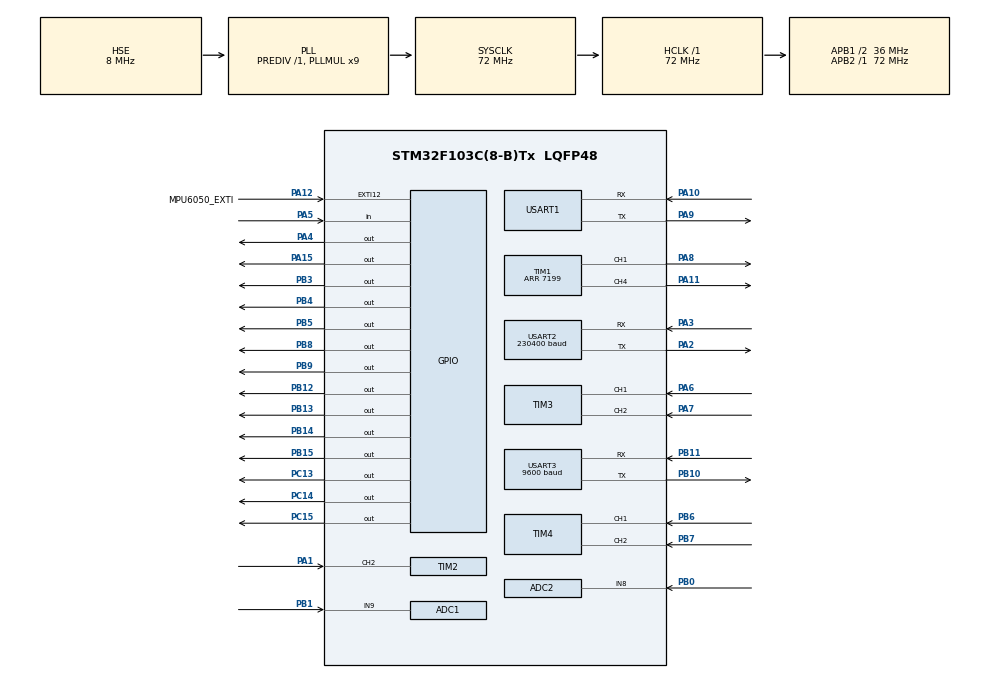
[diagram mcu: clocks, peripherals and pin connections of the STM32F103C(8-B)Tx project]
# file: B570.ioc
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ADC1.Channel-1\#ChannelRegularConversion=ADC_CHANNEL_9
ADC1.NbrOfConversionFlag=1
ADC1.Rank-1\#ChannelRegularConversion=1
ADC1.SamplingTime-1\#ChannelRegularConversion=ADC_SAMPLETIME_1CYCLE_5
ADC1.master=1
ADC2.Channel-0\#ChannelRegularConversion=ADC_CHANNEL_8
ADC2.NbrOfConversionFlag=1
ADC2.Rank-0\#ChannelRegularConversion=1
ADC2.SamplingTime-0\#ChannelRegularConversion=ADC_SAMPLETIME_1CYCLE_5
Mcu.Family=STM32F1
Mcu.Name=STM32F103C(8-B)Tx
Mcu.Package=LQFP48
NVIC.EXTI15_10_IRQn=true\:2\:1\:true\:false\:true\:true\:true\:true
NVIC.PriorityGroup=NVIC_PRIORITYGROUP_2
NVIC.TIM2_IRQn=true\:1\:1\:true\:false\:true\:true\:true\:true
NVIC.TIM3_IRQn=true\:1\:1\:true\:false\:true\:true\:true\:true
NVIC.TIM4_IRQn=true\:1\:1\:true\:false\:true\:true\:true\:true
NVIC.USART1_IRQn=true\:1\:1\:true\:false\:true\:true\:true\:true
NVIC.USART2_IRQn=true\:1\:1\:true\:false\:true\:true\:true\:true
NVIC.USART3_IRQn=true\:1\:1\:true\:false\:true\:true\:true\:true
PA0-WKUP.Signal=S_TIM2_CH1_ETR
PA1.Signal=S_TIM2_CH2
PA10.Mode=Asynchronous
PA10.Signal=USART1_RX
PA11.Signal=S_TIM1_CH4
PA12.GPIO_Label=MPU6050_EXTI
PA12.Signal=GPXTI12
PA15.Signal=GPIO_Output
PA2.Mode=Asynchronous
PA2.Signal=USART2_TX
PA3.Mode=Asynchronous
PA3.Signal=USART2_RX
PA4.Signal=GPIO_Output
PA5.Signal=GPIO_Input
PA6.Signal=S_TIM3_CH1
PA7.Signal=S_TIM3_CH2
PA8.Signal=S_TIM1_CH1
PA9.Mode=Asynchronous
PA9.Signal=USART1_TX
PB0.Signal=ADCx_IN8
PB1.Signal=ADCx_IN9
PB10.Mode=Asynchronous
PB10.Signal=USART3_TX
PB11.Mode=Asynchronous
PB11.Signal=USART3_RX
PB12.Signal=GPIO_Output
PB13.Signal=GPIO_Output
PB14.Signal=GPIO_Output
PB15.Signal=GPIO_Output
PB3.Signal=GPIO_Output
PB4.Signal=GPIO_Output
PB5.Signal=GPIO_Output
PB6.Signal=S_TIM4_CH1
PB7.Signal=S_TIM4_CH2
PB8.Signal=GPIO_Output
PB9.Signal=GPIO_Output
PC13-TAMPER-RTC.Signal=GPIO_Output
PC14-OSC32_IN.Signal=GPIO_Output
PC15-OSC32_OUT.Signal=GPIO_Output
PD0-OSC_IN.Mode=HSE-External-Oscillator
PD0-OSC_IN.Signal=RCC_OSC_IN
PD1-OSC_OUT.Mode=HSE-External-Oscillator
PD1-OSC_OUT.Signal=RCC_OSC_OUT
ProjectManager.HeapSize=0x200
ProjectManager.StackSize=0x400
ProjectManager.TargetToolchain=MDK-ARM V5.32
RCC.ADCPresc=RCC_ADCPCLK2_DIV6
RCC.AHBFreq_Value=72000000
RCC.APB1CLKDivider=RCC_HCLK_DIV2
RCC.APB1Freq_Value=36000000
RCC.APB1TimFreq_Value=72000000
RCC.APB2Freq_Value=72000000
RCC.APB2TimFreq_Value=72000000
RCC.HCLKFreq_Value=72000000
RCC.PLLMUL=RCC_PLL_MUL9
RCC.PLLSourceVirtual=RCC_PLLSOURCE_HSE
RCC.SYSCLKFreq_VALUE=72000000
RCC.SYSCLKSource=RCC_SYSCLKSOURCE_PLLCLK
RCC.USBFreq_Value=72000000
SH.ADCx_IN8.0=ADC2_IN8,IN8
SH.ADCx_IN9.0=ADC1_IN9,IN9
SH.S_TIM1_CH1.0=TIM1_CH1,PWM Generation1 CH1
SH.S_TIM1_CH4.0=TIM1_CH4,PWM Generation4 CH4
SH.S_TIM2_CH1_ETR.0=TIM2_CH1
SH.S_TIM2_CH2.0=TIM2_CH2,Input_Capture2_from_TI2
SH.S_TIM3_CH1.0=TIM3_CH1,Encoder_Interface
SH.S_TIM3_CH2.0=TIM3_CH2,Encoder_Interface
SH.S_TIM4_CH1.0=TIM4_CH1,Encoder_Interface
SH.S_TIM4_CH2.0=TIM4_CH2,Encoder_Interface
TIM1.AutoReloadPreload=TIM_AUTORELOAD_PRELOAD_ENABLE
TIM1.Channel-PWM\ Generation1\ CH1=TIM_CHANNEL_1
TIM1.Channel-PWM\ Generation4\ CH4=TIM_CHANNEL_4
TIM1.Period=7199
TIM2.Channel-Input_Capture2_from_TI2=TIM_CHANNEL_2
TIM2.Prescaler=71
TIM3.EncoderMode=TIM_ENCODERMODE_TI12
TIM4.EncoderMode=TIM_ENCODERMODE_TI12
USART1.VirtualMode=VM_ASYNC
USART2.BaudRate=230400
USART2.VirtualMode=VM_ASYNC
USART3.BaudRate=9600
USART3.VirtualMode=VM_ASYNC
VP_SYS_VS_ND.Mode=No_Debug
board=custom

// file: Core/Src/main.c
/* USER CODE BEGIN Header */
/**
  ******************************************************************************
  * @file           : main.c
  * @brief          : Main program body
  ******************************************************************************
  * @attention
  *
  * <h2><center>&copy; Copyright (c) 2021 STMicroelectronics.
  * All rights reserved.</center></h2>
  *
  * This software component is licensed by ST under BSD 3-Clause license,
  * the "License"; You may not use this file except in compliance with the
  * License. You may obtain a copy of the License at:
  *                        opensource.org/licenses/BSD-3-Clause
  *
  ******************************************************************************
  */
/* USER CODE END Header */
#include "main.h"
#include "adc.h"
#include "tim.h"
#include "usart.h"
#include "gpio.h"

/* USER CODE BEGIN Includes */
#include "sys.h"
/* USER CODE END Includes */

/* USER CODE BEGIN PTD */
// ===== 全局配置 ===== //
u8 Way_Angle=2;                  //姿态算法: 1=DMP 2=卡尔曼(默认) 3=互补滤波
u8 Flag_Stop=1,Flag_Show=0;      //电机停止标志(1=停止) 显示标志(0=OLED模式)
u8 Mode = 0;                     //运行模式: 0=普通 1=超声波避障 2=超声波跟随 3-5=雷达模式 6=CCD巡线 7=电磁巡线
// ===== PID 参数配置（数值放大100倍存储） ===== //
// 平衡环 PD:  Kp=255.0  Kd=1.35   (角度控制核心)
// 速度环 PI:  Kp=160.0  Ki=0.80   (编码器反馈)
// 转向环 PD:  Kp=42.0   Kd=0.60   (Z轴角速度)
float Balance_Kp=25500,Balance_Kd=135,Velocity_Kp=16000,Velocity_Ki=80,Turn_Kp=4200,Turn_Kd=60;//PID参数（放大100倍）
u8 Flag_front,Flag_back,Flag_Left,Flag_Right,Flag_velocity=2; //蓝牙遥控方向/速度档位
int Motor_Left,Motor_Right;                 //左右电机PWM值（有符号，正=前进 负=后退）
int Temperature,Voltage,Middle_angle;        //温度、电池电压、机械中值
float Angle_Balance,Gyro_Balance,Gyro_Turn;  //平衡角、平衡角速度、转向角速度
float Acceleration_Z;                        //Z轴加速度（用于拿起检测）
u8 LD_Successful_Receive_flag;              //雷达接收成功标志
u8 CCD_Zhongzhi,CCD_Yuzhi;                  //CCD巡线中线/阈值
u16 ADV[128]={0};                           //CCD数据数组
u16 determine;                              //雷达走直线确定标志
float Move_X,Move_Z;                        //遥控/自动模式的速度和转向
u32 Distance;                               //超声波测距(mm)
u8 PID_Send;                                //APP调参发送标志
u8 Flag_follow=0,Flag_avoid=0;             //超声波跟随/避障标志
volatile u8 delay_flag,delay_50;            //示波器50ms精准延时

/* USER CODE END PTD */

void SystemClock_Config(void);

int main(void)
{

  /* MCU Configuration--------------------------------------------------------*/

  /* Reset of all peripherals, Initializes the Flash interface and the Systick. */
  HAL_Init();

  /* Configure the system clock */
  SystemClock_Config();

  /* Initialize all configured peripherals */
  MX_GPIO_Init();
  MX_ADC1_Init();
  MX_ADC2_Init();
  MX_TIM1_Init();
  MX_TIM3_Init();
  MX_TIM4_Init();
  MX_USART1_UART_Init();
  MX_USART3_UART_Init();
  MX_USART2_UART_Init();
  MX_TIM2_Init();
  /* USER CODE BEGIN 2 */
	JTAG_Set(JTAG_SWD_DISABLE);     //关闭JTAG接口
	JTAG_Set(SWD_ENABLE);           //打开SWD接口 可以利用主板的SWD接口调试
  delay_init();                   //延迟函数初始化
  OLED_Init();                    //OLED初始化
  MPU6050_initialize();           //MPU6050初始化
	DMP_Init();                     //初始化DMP
    while(Choose()) { }           //转右轮选模式（0=普通 1=超声波避障 2=超声波跟随），双击确认
	if(Mode==Ultrasonic_Avoid_Mode||Mode==Ultrasonic_Follow_Mode)
		  MX_TIM2_Init();          //超声波模式需要TIM2
	HAL_NVIC_EnableIRQ(EXTI15_10_IRQn); //开启MPU6050 INT引脚外部中断
  /* USER CODE END 2 */

  /* Infinite loop */
  /* USER CODE BEGIN WHILE */

  // 舵机测试：PA0 = TIM2_CH1, 50Hz PWM
  MX_TIM2_Init();                          // 初始化TIM2（含CH1 PWM + CH2超声波）
  HAL_TIM_PWM_Start(&htim2, TIM_CHANNEL_1); // 启动CH1 PWM

  while (1)
  {
    // 舵机测试：0°→90°→180° 循环
    __HAL_TIM_SET_COMPARE(&htim2, TIM_CHANNEL_1, 500);
    HAL_Delay(1000);
    __HAL_TIM_SET_COMPARE(&htim2, TIM_CHANNEL_1, 1500);
    HAL_Delay(1000);
    __HAL_TIM_SET_COMPARE(&htim2, TIM_CHANNEL_1, 2500);
    HAL_Delay(1000);

    /* USER CODE END WHILE */

    /* USER CODE BEGIN 3 */
	  if(Flag_Show==0)          		//使用MiniBalance APP和OLED显示屏
			{
//				Get_Angle(Way_Angle);
				 APP_Show();								//发送数据给APP
				 oled_show();          			//显示屏打开
			}
			else                      		//使用MiniBalance上位机 上位机使用的时候需要严格的时序，故此时关闭app监控部分和OLED显示屏
			{
				 DataScope();          			//开启MiniBalance上位机
			}
		  delay_flag=1;
		  delay_50=0;
			while(delay_flag);	     			//示波器需要50ms	高精度延时，delay函数不满足要求，故使用MPU6050中断提供50ms延时
  }
  /* USER CODE END 3 */
}

void SystemClock_Config(void)
{
  RCC_OscInitTypeDef RCC_OscInitStruct = {0};
  RCC_ClkInitTypeDef RCC_ClkInitStruct = {0};
  RCC_PeriphCLKInitTypeDef PeriphClkInit = {0};

  /** Initializes the RCC Oscillators according to the specified parameters
  * in the RCC_OscInitTypeDef structure.
  */
  RCC_OscInitStruct.OscillatorType = RCC_OSCILLATORTYPE_HSE;
  RCC_OscInitStruct.HSEState = RCC_HSE_ON;
  RCC_OscInitStruct.HSEPredivValue = RCC_HSE_PREDIV_DIV1;
  RCC_OscInitStruct.HSIState = RCC_HSI_ON;
  RCC_OscInitStruct.PLL.PLLState = RCC_PLL_ON;
  RCC_OscInitStruct.PLL.PLLSource = RCC_PLLSOURCE_HSE;
  RCC_OscInitStruct.PLL.PLLMUL = RCC_PLL_MUL9;
  if (HAL_RCC_OscConfig(&RCC_OscInitStruct) != HAL_OK)
  {
    Error_Handler();
  }
  /** Initializes the CPU, AHB and APB buses clocks
  */
  RCC_ClkInitStruct.ClockType = RCC_CLOCKTYPE_HCLK|RCC_CLOCKTYPE_SYSCLK
                              |RCC_CLOCKTYPE_PCLK1|RCC_CLOCKTYPE_PCLK2;
  RCC_ClkInitStruct.SYSCLKSource = RCC_SYSCLKSOURCE_PLLCLK;
  RCC_ClkInitStruct.AHBCLKDivider = RCC_SYSCLK_DIV1;
  RCC_ClkInitStruct.APB1CLKDivider = RCC_HCLK_DIV2;
  RCC_ClkInitStruct.APB2CLKDivider = RCC_HCLK_DIV1;

  if (HAL_RCC_ClockConfig(&RCC_ClkInitStruct, FLASH_LATENCY_2) != HAL_OK)
  {
    Error_Handler();
  }
  PeriphClkInit.PeriphClockSelection = RCC_PERIPHCLK_ADC;
  PeriphClkInit.AdcClockSelection = RCC_ADCPCLK2_DIV6;
  if (HAL_RCCEx_PeriphCLKConfig(&PeriphClkInit) != HAL_OK)
  {
    Error_Handler();
  }
}

void Error_Handler(void)
{
  __disable_irq();
  while (1)
  {
  }
}

/************************ (C) COPYRIGHT STMicroelectronics *****END OF FILE****/
